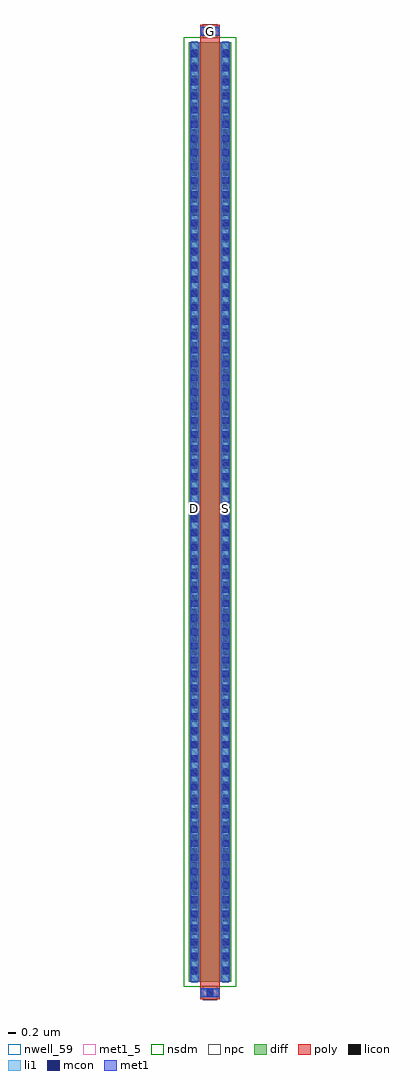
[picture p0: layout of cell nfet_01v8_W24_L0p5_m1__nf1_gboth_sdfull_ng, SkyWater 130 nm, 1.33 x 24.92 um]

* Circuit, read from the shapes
.subckt nfet_01v8_W24_L0p5_m1__nf1_gboth_sdfull_ng B D G S
XM1 S G D B sky130_fd_pr__nfet_01v8 w=24 l=0.5
.ends

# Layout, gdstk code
import gdstk
lib = gdstk.Library(unit=1e-6, precision=1e-09)
def R(c, l, rs):  # rectangles x0, y0, x1, y1
    for r in rs: c.add(gdstk.rectangle(r[:2], r[2:], *l))
def A(c, l, x, y, w, h, nx, ny, dx, dy):  # array of equal rectangles
    R(c, l, [(x+i*dx, y+j*dy, x+i*dx+w, y+j*dy+h) for i in range(nx) for j in range(ny)])
nwell_59 = (64, 59)
diff = (65, 20)
poly = (66, 20)
licon = (66, 44)
li1 = (67, 20)
mcon = (67, 44)
met1_5 = (68, 5)
met1 = (68, 20)
nsdm = (93, 44)
npc = (95, 20)

sky130_fd_pr__nfet_01v8_ = lib.new_cell('sky130_fd_pr__nfet_01v8_2PFD6U')
R(sky130_fd_pr__nfet_01v8_, diff, [(-0.54,-12,0.54,12)])
R(sky130_fd_pr__nfet_01v8_, poly, [(-0.25,-12.44,0.25,12.44)])
A(sky130_fd_pr__nfet_01v8_, licon, -0.48, -11.815, 0.17, 0.17, 1, 70, 0, 0.34)
A(sky130_fd_pr__nfet_01v8_, licon, 0.31, -11.815, 0.17, 0.17, 1, 70, 0, 0.34)
R(sky130_fd_pr__nfet_01v8_, licon, [(-0.085,-12.36,0.085,-12.19), (-0.085,12.19,0.085,12.36)])
R(sky130_fd_pr__nfet_01v8_, li1, [(-0.25,-12.36,0.25,-12.19), (-0.48,-12.02,-0.31,12.02), (0.31,-12.02,0.48,12.02), (-0.25,12.19,0.25,12.36)])
A(sky130_fd_pr__nfet_01v8_, mcon, -0.48, -11.785, 0.17, 0.17, 1, 66, 0, 0.36)
A(sky130_fd_pr__nfet_01v8_, mcon, 0.31, -11.785, 0.17, 0.17, 1, 66, 0, 0.36)
R(sky130_fd_pr__nfet_01v8_, mcon, [(-0.085,-12.36,0.085,-12.19), (-0.085,12.19,0.085,12.36)])
R(sky130_fd_pr__nfet_01v8_, met1, [(-0.23,-12.39,0.23,-12.16), (-0.51,-12,-0.28,12), (0.28,-12,0.51,12), (-0.23,12.16,0.23,12.39)])
R(sky130_fd_pr__nfet_01v8_, nsdm, [(-0.665,-12.125,0.665,12.125)])
R(sky130_fd_pr__nfet_01v8_, npc, [(-0.185,-12.46,0.185,-12.09), (-0.185,12.09,0.185,12.46)])
sky130_fd_pr__nfet_01v8_.add(gdstk.Label('D', (-0.395,0), layer=67, texttype=5))
sky130_fd_pr__nfet_01v8_.add(gdstk.Label('S', (0.395,0), layer=67, texttype=5))
sky130_fd_pr__nfet_01v8_.add(gdstk.Label('G', (0,12.275), layer=67, texttype=5))

nfet_01v8_w24_l0p5_m1__n = lib.new_cell('nfet_01v8_W24_L0p5_m1__nf1_gboth_sdfull_ng')
R(nfet_01v8_w24_l0p5_m1__n, nwell_59, [(0.05,12.39,0.15,12.49)])
R(nfet_01v8_w24_l0p5_m1__n, met1_5, [(0.03,12.44,0.26,12.64), (0.82,12.44,1.05,12.64), (0.31,24.6,0.77,24.83)])
R(nfet_01v8_w24_l0p5_m1__n, met1, [(0.03,12.44,0.26,12.64), (0.82,12.44,1.05,12.64), (0.31,24.6,0.77,24.83)])
nfet_01v8_w24_l0p5_m1__n.add(gdstk.Reference(sky130_fd_pr__nfet_01v8_, (0.54,12.44)))
nfet_01v8_w24_l0p5_m1__n.add(gdstk.Label('D', (0.145,12.54), layer=68, texttype=5))
nfet_01v8_w24_l0p5_m1__n.add(gdstk.Label('S', (0.935,12.54), layer=68, texttype=5))
nfet_01v8_w24_l0p5_m1__n.add(gdstk.Label('G', (0.54,24.715), layer=68, texttype=5))
nfet_01v8_w24_l0p5_m1__n.add(gdstk.Label('B', (0.1,12.44), layer=64, texttype=59))

lib.write_gds('nfet_01v8_W24_L0p5_m1__nf1_gboth_sdfull_ng.gds')
